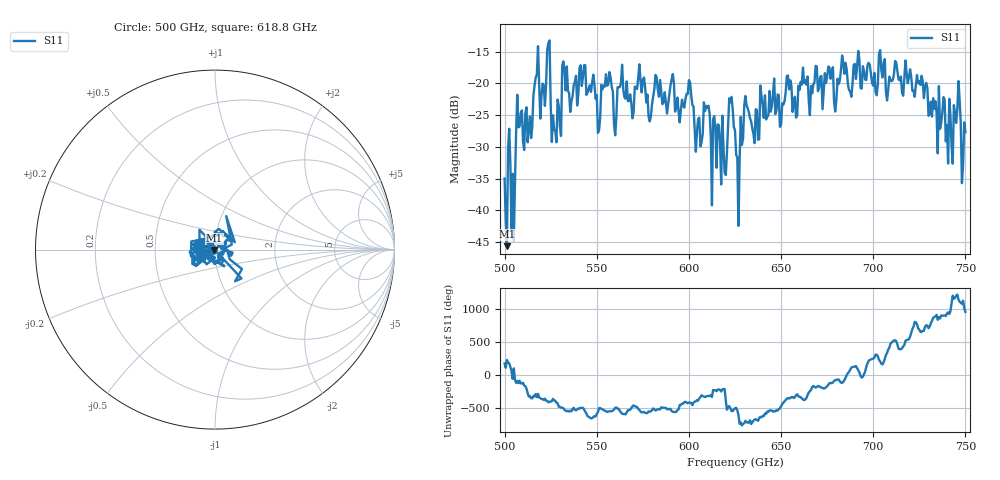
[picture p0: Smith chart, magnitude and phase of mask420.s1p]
!Created with skrf (http://scikit-rf.org).
# GHz S MA R 50.0
!freq magS11 angS11
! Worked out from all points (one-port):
!   401 points, 500 GHz to 750 GHz, reference 50 ohm
!   lowest |S11| = -45.7 dB at 501.2 GHz (marker M1), VSWR 1.01, Z = 49.7 - j0.39 ohm
!   |S11| at or under -10 dB: start of sweep to end of sweep
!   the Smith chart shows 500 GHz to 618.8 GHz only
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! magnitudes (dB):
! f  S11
! 500 GHz  -35.0
! 501.2 GHz  -45.7
! 504.4 GHz  -34.2
! 507.5 GHz  -26.9
! 513.8 GHz  -25.2
! 517.5 GHz  -18.6
! 520.6 GHz  -20.0
! 523.8 GHz  -13.6
! 526.9 GHz  -27.3
! 531.2 GHz  -17.2
! 542.5 GHz  -19.0
! 550.6 GHz  -27.8
! 562.5 GHz  -20.6
! 593.8 GHz  -22.2
! 600 GHz  -19.5
! 605 GHz  -25.6
! 609.4 GHz  -23.5
! 618.8 GHz  -30.1
! 622.5 GHz  -23.0
! 625 GHz  -27.4
! 626.2 GHz  -31.6
! 631.2 GHz  -23.4
! 636.9 GHz  -24.2
! 656.2 GHz  -24.5
! 683.8 GHz  -16.8
! 687.5 GHz  -21.2
! 718.8 GHz  -20.0
! 750 GHz  -27.7
